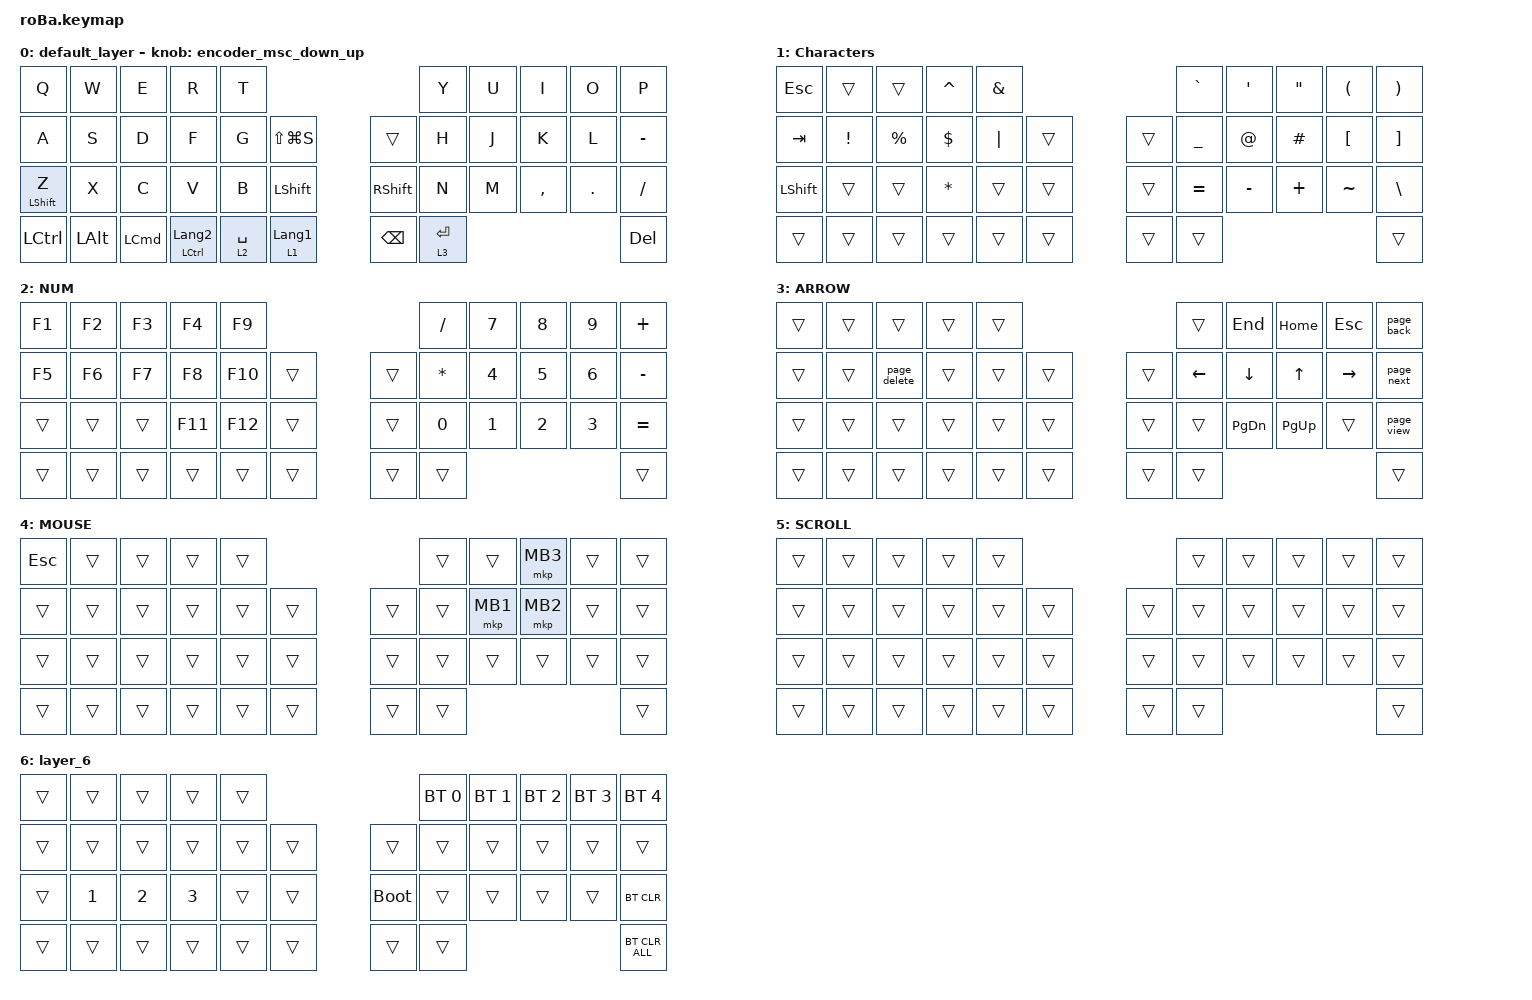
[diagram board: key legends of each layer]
#include <behaviors.dtsi>
#include <dt-bindings/zmk/bt.h>
#include <dt-bindings/zmk/keys.h>
#include <dt-bindings/zmk/pointing.h>

#define ZMK_POINTING_DEFAULT_SCRL_VAL 80

&mt {
    flavor = "balanced";
    quick-tap-ms = <0>;
};

&trackball {
    automouse-layer = <4>;
    scroll-layers = <5>;

    // arrows {
    //     layers = <3>;
    //     bindings =
    //         <&kp RIGHT_ARROW>,
    //         <&kp LEFT_ARROW>,
    //         <&kp UP_ARROW>,
    //         <&kp DOWN_ARROW>;
    //     tick = <10>;
    //     wait-ms = <5>;
    //     tap-ms = <5>;
    // };
};

/ {
    combos {
        compatible = "zmk,combos";

        tab {
            bindings = <&kp TAB>;
            key-positions = <11 12>;
        };

        shift_tab {
            bindings = <&kp LS(TAB)>;
            key-positions = <12 13>;
        };

        BT {
            bindings = <&mo 6>;
            key-positions = <0 1>;
        };

        colon {
            bindings = <&kp SEMICOLON>;
            key-positions = <20 19>;
        };

        at {
            bindings = <&kp AT_SIGN>;
            key-positions = <18 19>;
        };

        space {
            bindings = <&kp SPACE>;
            key-positions = <30 31>;
        };
    };

    macros {
        to_layer_0: to_layer_0 {
            compatible = "zmk,behavior-macro-one-param";
            #binding-cells = <1>;
            bindings = <&to 0 &macro_param_1to1 &kp MACRO_PLACEHOLDER>;
            label = "TO_LAYER_0";
        };

        page_back: page_back {
            compatible = "zmk,behavior-macro";
            #binding-cells = <0>;
            bindings =
                <&macro_press>,
                <&kp LEFT_COMMAND>,
                <&macro_tap>,
                <&kp LEFT_ARROW>,
                <&macro_release>,
                <&kp LEFT_COMMAND>;

            label = "PAGE_BACK";
        };

        page_next: page_next {
            compatible = "zmk,behavior-macro";
            #binding-cells = <0>;
            bindings =
                <&macro_press>,
                <&kp LEFT_COMMAND>,
                <&macro_tap>,
                <&kp RIGHT_ARROW>,
                <&macro_release>,
                <&kp LEFT_COMMAND>;

            label = "PAGE_NEXT";
        };

        page_view: page_view {
            compatible = "zmk,behavior-macro";
            #binding-cells = <0>;
            bindings =
                <&macro_press>,
                <&kp LEFT_COMMAND &kp LEFT_SHIFT>,
                <&macro_tap>,
                <&kp BACKSLASH>,
                <&macro_release>,
                <&kp LEFT_COMMAND &kp LEFT_SHIFT>;

            label = "PAGE_VIEW";
        };

        page_delete: page_delete {
            compatible = "zmk,behavior-macro";
            #binding-cells = <0>;
            bindings =
                <&macro_press>,
                <&kp LEFT_COMMAND>,
                <&macro_tap>,
                <&kp W>,
                <&macro_release>,
                <&kp LEFT_COMMAND>;

            label = "PAGE_DELETE";
        };
    };

    behaviors {
        lt_to_layer_0: lt_to_layer_0 {
            compatible = "zmk,behavior-hold-tap";
            label = "LAYER_TAP_TO_0";
            bindings = <&mo>, <&to_layer_0>;

            #binding-cells = <2>;
            tapping-term-ms = <200>;
        };

        encoder_msc_down_up: encoder_msc_down_up {
            compatible = "zmk,behavior-sensor-rotate";
            label = "ENCODER_MSC_DOWN_UP";
            #sensor-binding-cells = <0>;
            bindings = <&msc SCRL_DOWN>, <&msc SCRL_UP>;

            tap-ms = <20>;
        };
    };

    keymap {
        compatible = "zmk,keymap";

        default_layer {
            bindings = <
&kp Q             &kp W         &kp E             &kp R                 &kp T                                                          &kp Y        &kp U  &kp I      &kp O    &kp P
&kp A             &kp S         &kp D             &kp F                 &kp G        &kp LS(LG(S))                    &trans           &kp H        &kp J  &kp K      &kp L    &kp MINUS
&mt LEFT_SHIFT Z  &kp X         &kp C             &kp V                 &kp B        &kp LEFT_SHIFT                   &kp RIGHT_SHIFT  &kp N        &kp M  &kp COMMA  &kp DOT  &kp SLASH
&kp LCTRL         &kp LEFT_ALT  &kp LEFT_COMMAND  &mt LCTRL LANGUAGE_2  &lt 2 SPACE  &lt_to_layer_0 1 LANGUAGE_1      &kp BACKSPACE    &lt 3 ENTER                             &kp DEL
            >;

            sensor-bindings = <&encoder_msc_down_up>;
        };

        Characters {
            bindings = <
&kp ESC         &trans           &trans       &kp CARET     &kp AMPERSAND                      &kp GRAVE       &kp SINGLE_QUOTE  &kp DOUBLE_QUOTES  &kp LEFT_PARENTHESIS  &kp RIGHT_PARENTHESIS
&kp TAB         &kp EXCLAMATION  &kp PERCENT  &kp DOLLAR    &kp PIPE       &trans      &trans  &kp UNDERSCORE  &kp AT_SIGN       &kp HASH           &kp LEFT_BRACKET      &kp RIGHT_BRACKET
&kp LEFT_SHIFT  &trans           &trans       &kp ASTERISK  &trans         &trans      &trans  &kp EQUAL       &kp MINUS         &kp PLUS           &kp TILDE             &kp BACKSLASH
&trans          &trans           &trans       &trans        &trans         &trans      &trans  &trans                                                                     &trans
            >;
        };

        NUM {
            bindings = <
&kp F1  &kp F2  &kp F3  &kp F4   &kp F9                       &kp SLASH     &kp NUMBER_7  &kp NUMBER_8  &kp NUMBER_9  &kp PLUS
&kp F5  &kp F6  &kp F7  &kp F8   &kp F10  &trans      &trans  &kp ASTRK     &kp NUMBER_4  &kp NUMBER_5  &kp NUMBER_6  &kp MINUS
&trans  &trans  &trans  &kp F11  &kp F12  &trans      &trans  &kp NUMBER_0  &kp NUMBER_1  &kp NUMBER_2  &kp NUMBER_3  &kp EQUAL
&trans  &trans  &trans  &trans   &trans   &trans      &trans  &trans                                                  &trans
            >;
        };

        ARROW {
            bindings = <
&trans  &trans  &trans        &trans  &trans                      &trans          &kp END         &kp HOME      &kp ESC          &page_back
&trans  &trans  &page_delete  &trans  &trans  &trans      &trans  &kp LEFT_ARROW  &kp DOWN_ARROW  &kp UP_ARROW  &kp RIGHT_ARROW  &page_next
&trans  &trans  &trans        &trans  &trans  &trans      &trans  &trans          &kp PAGE_DOWN   &kp PAGE_UP   &trans           &page_view
&trans  &trans  &trans        &trans  &trans  &trans      &trans  &trans                                                         &trans
            >;
        };

        MOUSE {
            bindings = <
&kp ESC  &trans  &trans  &trans  &trans                      &trans  &trans    &mkp MB3  &trans  &trans
&trans   &trans  &trans  &trans  &trans  &trans      &trans  &trans  &mkp MB1  &mkp MB2  &trans  &trans
&trans   &trans  &trans  &trans  &trans  &trans      &trans  &trans  &trans    &trans    &trans  &trans
&trans   &trans  &trans  &trans  &trans  &trans      &trans  &trans                              &trans
            >;
        };

        SCROLL {
            bindings = <
&trans  &trans  &trans  &trans  &trans                      &trans  &trans  &trans  &trans  &trans
&trans  &trans  &trans  &trans  &trans  &trans      &trans  &trans  &trans  &trans  &trans  &trans
&trans  &trans  &trans  &trans  &trans  &trans      &trans  &trans  &trans  &trans  &trans  &trans
&trans  &trans  &trans  &trans  &trans  &trans      &trans  &trans                          &trans
            >;
        };

        layer_6 {
            bindings = <
&trans  &trans        &trans        &trans        &trans                           &bt BT_SEL 0  &bt BT_SEL 1  &bt BT_SEL 2  &bt BT_SEL 3  &bt BT_SEL 4
&trans  &trans        &trans        &trans        &trans  &trans      &trans       &trans        &trans        &trans        &trans        &trans
&trans  &kp NUMBER_1  &kp NUMBER_2  &kp NUMBER_3  &trans  &trans      &bootloader  &trans        &trans        &trans        &trans        &bt BT_CLR
&trans  &trans        &trans        &trans        &trans  &trans      &trans       &trans                                                  &bt BT_CLR_ALL
            >;
        };
    };
};
